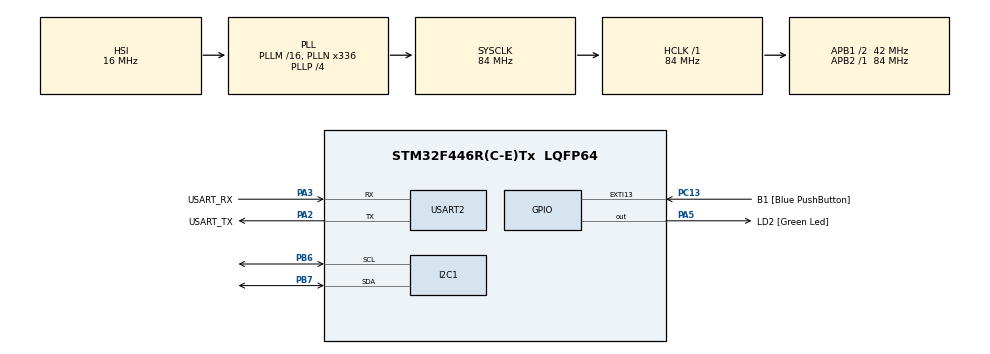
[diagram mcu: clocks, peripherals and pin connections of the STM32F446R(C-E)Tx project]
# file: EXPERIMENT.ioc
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Mcu.Family=STM32F4
Mcu.Name=STM32F446R(C-E)Tx
Mcu.Package=LQFP64
NVIC.PriorityGroup=NVIC_PRIORITYGROUP_0
PA13.GPIO_Label=TMS
PA13.Mode=Serial_Wire
PA13.Signal=SYS_JTMS-SWDIO
PA14.GPIO_Label=TCK
PA14.Mode=Serial_Wire
PA14.Signal=SYS_JTCK-SWCLK
PA2.GPIO_Label=USART_TX
PA2.Mode=Asynchronous
PA2.Signal=USART2_TX
PA3.GPIO_Label=USART_RX
PA3.Mode=Asynchronous
PA3.Signal=USART2_RX
PA5.GPIO_Label=LD2 [Green Led]
PA5.Signal=GPIO_Output
PB3.GPIO_Label=SWO
PB3.Signal=SYS_JTDO-SWO
PB6.Mode=I2C
PB6.Signal=I2C1_SCL
PB7.Mode=I2C
PB7.Signal=I2C1_SDA
PC13.GPIO_Label=B1 [Blue PushButton]
PC13.GPIO_ModeDefaultEXTI=GPIO_MODE_IT_FALLING
PC13.Signal=GPXTI13
PC14-OSC32_IN.Mode=LSE-External-Oscillator
PC14-OSC32_IN.Signal=RCC_OSC32_IN
PC15-OSC32_OUT.Mode=LSE-External-Oscillator
PC15-OSC32_OUT.Signal=RCC_OSC32_OUT
PH0-OSC_IN.Mode=HSE-External-Oscillator
PH0-OSC_IN.Signal=RCC_OSC_IN
PH1-OSC_OUT.Mode=HSE-External-Oscillator
PH1-OSC_OUT.Signal=RCC_OSC_OUT
ProjectManager.HeapSize=0x200
ProjectManager.StackSize=0x400
ProjectManager.TargetToolchain=CMake
RCC.48MHZClocksFreq_Value=84000000
RCC.AHBFreq_Value=84000000
RCC.APB1CLKDivider=RCC_HCLK_DIV2
RCC.APB1Freq_Value=42000000
RCC.APB1TimFreq_Value=84000000
RCC.APB2Freq_Value=84000000
RCC.APB2TimFreq_Value=84000000
RCC.CortexFreq_Value=84000000
RCC.FLatency-AdvancedSettings=FLASH_LATENCY_2
RCC.HCLKFreq_Value=84000000
RCC.HSE_VALUE=8000000
RCC.HSI_VALUE=16000000
RCC.PLLN=336
RCC.PLLP=RCC_PLLP_DIV4
RCC.SYSCLKFreq_VALUE=84000000
RCC.SYSCLKSource=RCC_SYSCLKSOURCE_PLLCLK
RCC.USBFreq_Value=168000000
RCC.VCOOutputFreq_Value=336000000
USART2.VirtualMode=VM_ASYNC
board=NUCLEO-F446RE

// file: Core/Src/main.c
/* USER CODE BEGIN Header */
/**
  ******************************************************************************
  * @file           : main.c
  * @brief          : Main program body
  ******************************************************************************
  * @attention
  *
  * Copyright (c) 2025 STMicroelectronics.
  * All rights reserved.
  *
  * This software is licensed under terms that can be found in the LICENSE file
  * in the root directory of this software component.
  * If no LICENSE file comes with this software, it is provided AS-IS.
  *
  ******************************************************************************
  */
/* USER CODE END Header */
#include "main.h"

/* USER CODE BEGIN Includes */
#include "lis2dw12_reg.h"
#include <string.h>
#include <stdio.h>
/* USER CODE END Includes */

I2C_HandleTypeDef hi2c1;

UART_HandleTypeDef huart2;

/* USER CODE BEGIN PV */
// I2C address for LIS2DW12 (DFRobot breakout board)
// 0x19 is the 7-bit address, 0x32 is left-shifted for STM32 HAL
#define LIS2DW12_I2C_ADDR_7BIT  0x19
#define LIS2DW12_I2C_ADDR_HAL   (LIS2DW12_I2C_ADDR_7BIT << 1)  // 0x32
/* USER CODE END PV */

void SystemClock_Config(void);
static void MX_GPIO_Init(void);
static void MX_USART2_UART_Init(void);
static void MX_I2C1_Init(void);
/* USER CODE BEGIN PFP */

#ifdef __GNUC__
#define PUTCHAR_PROTOTYPE int __io_putchar(int ch)
#else
#define PUTCHAR_PROTOTYPE int fputc(int ch, FILE *f)
#endif

PUTCHAR_PROTOTYPE{
  HAL_UART_Transmit(&huart2, (uint8_t*)&ch, 1, HAL_MAX_DELAY);
  return ch;
}

void i2c_scan(I2C_HandleTypeDef *hi2c);

/* USER CODE END PFP */

/* USER CODE BEGIN 0 */

// I2C bus scan function for debugging
void i2c_scan(I2C_HandleTypeDef *hi2c) {
    printf("\r\n--- I2C Bus Scan ---\r\n");
    printf("Scanning I2C bus...\r\n");

    uint8_t devices_found = 0;

    for (uint8_t i = 0; i < 128; i++) {
        HAL_StatusTypeDef result = HAL_I2C_IsDeviceReady(hi2c, (uint16_t)(i << 1), 1, 10);
        if (result == HAL_OK) {
            printf("Device found at 0x%02X (7-bit) / 0x%02X (8-bit HAL)\r\n", i, (i << 1));
            devices_found++;
        }
    }

    if (devices_found == 0) {
        printf("No I2C devices found! Check your connections.\r\n");
    } else {
        printf("Total devices found: %d\r\n", devices_found);
    }

    printf("Expected LIS2DW12 at 0x%02X (7-bit) / 0x%02X (8-bit HAL)\r\n",
           LIS2DW12_I2C_ADDR_7BIT, LIS2DW12_I2C_ADDR_HAL);
    printf("--- End of Scan ---\r\n\r\n");
}

static int32_t platform_write(void *handle, uint8_t reg, const uint8_t *bufp, uint16_t len) {
    HAL_StatusTypeDef status = HAL_I2C_Mem_Write(handle, LIS2DW12_I2C_ADDR_HAL, reg, I2C_MEMADD_SIZE_8BIT, (uint8_t*)bufp, len, 100);
    if (status != HAL_OK) {
        printf("I2C Write Error: %d\r\n", status);
        return -1;
    }
    return 0;
}

// Platform-specific I2C read function for the LIS2DW12 driver

static int32_t platform_read(void *handle, uint8_t reg, uint8_t *bufp, uint16_t len) {
    HAL_StatusTypeDef status = HAL_I2C_Mem_Read(handle, LIS2DW12_I2C_ADDR_HAL, reg, I2C_MEMADD_SIZE_8BIT, bufp, len, 100);
    if (status != HAL_OK) {
        printf("I2C Read Error: %d\r\n", status);
        return -1;
    }
    return 0;
}
/* USER CODE END 0 */

int main(void)
{

  /* MCU Configuration--------------------------------------------------------*/

  /* Reset of all peripherals, Initializes the Flash interface and the Systick. */
  HAL_Init();

  /* Configure the system clock */
  SystemClock_Config();

  /* Initialize all configured peripherals */
  MX_GPIO_Init();
  MX_USART2_UART_Init();
  MX_I2C1_Init();
  /* USER CODE BEGIN 2 */

  printf("\r\n=== LIS2DW12 Accelerometer Initialization ===\r\n");

  // Scan I2C bus to check device connectivity
  i2c_scan(&hi2c1);

  stmdev_ctx_t dev_ctx;
  dev_ctx.write_reg = platform_write;
  dev_ctx.read_reg = platform_read;
  dev_ctx.handle = &hi2c1;

  uint8_t devID;
  int32_t ret = lis2dw12_device_id_get(&dev_ctx, &devID);

  if (ret != 0) {
    printf("Failed to read Device ID!\r\n");
    Error_Handler();
  }

  printf("Device ID: 0x%02X (Expected: 0x44)\r\n", devID);
  if (devID != LIS2DW12_ID) {  // LIS2DW12_ID is 0x44
    printf("ERROR: Wrong device ID! Check I2C connections.\r\n");
    Error_Handler();
  }

  printf("LIS2DW12 initialized successfully!\r\n");

  lis2dw12_data_rate_set(&dev_ctx, LIS2DW12_XL_ODR_800Hz);

  lis2dw12_power_mode_set(&dev_ctx, LIS2DW12_HIGH_PERFORMANCE);

  printf("Configuration complete: ODR=800Hz, Mode=High Performance\r\n\r\n");

  /* USER CODE END 2 */

  /* Infinite loop */
  while (1)
  {

    /* USER CODE BEGIN 3 */

  // printf("hey there world\r\n");

  uint8_t data_ready_flag;

  // printf("hey there world\r\n");

  lis2dw12_flag_data_ready_get(&dev_ctx, &data_ready_flag);
  printf("Data Ready: %d\r\n", data_ready_flag);

  if (data_ready_flag) {
    int16_t raw_accel[3];
    float final_accel_mg[3];

    // holint our data

    lis2dw12_acceleration_raw_get(&dev_ctx, raw_accel);
    // reading data
    final_accel_mg[0] = lis2dw12_from_fs2_to_mg(raw_accel[0]); // X-axis
    final_accel_mg[1] = lis2dw12_from_fs2_to_mg(raw_accel[1]); // Y-axis
    final_accel_mg[2] = lis2dw12_from_fs2_to_mg(raw_accel[2]); // Z-axis
    // mg'ing everything we get for X,Y,Z

    printf("Accel [mg]: X=%.2f Y=%.2f Z=%.2f\r\n",
            final_accel_mg[0],
            final_accel_mg[1],
            final_accel_mg[2]);

  }
  HAL_Delay(100);
  }
  /* USER CODE END 3 */
}

void SystemClock_Config(void)
{
  RCC_OscInitTypeDef RCC_OscInitStruct = {0};
  RCC_ClkInitTypeDef RCC_ClkInitStruct = {0};

  /** Configure the main internal regulator output voltage
  */
  __HAL_RCC_PWR_CLK_ENABLE();
  __HAL_PWR_VOLTAGESCALING_CONFIG(PWR_REGULATOR_VOLTAGE_SCALE3);

  /** Initializes the RCC Oscillators according to the specified parameters
  * in the RCC_OscInitTypeDef structure.
  */
  RCC_OscInitStruct.OscillatorType = RCC_OSCILLATORTYPE_HSI;
  RCC_OscInitStruct.HSIState = RCC_HSI_ON;
  RCC_OscInitStruct.HSICalibrationValue = RCC_HSICALIBRATION_DEFAULT;
  RCC_OscInitStruct.PLL.PLLState = RCC_PLL_ON;
  RCC_OscInitStruct.PLL.PLLSource = RCC_PLLSOURCE_HSI;
  RCC_OscInitStruct.PLL.PLLM = 16;
  RCC_OscInitStruct.PLL.PLLN = 336;
  RCC_OscInitStruct.PLL.PLLP = RCC_PLLP_DIV4;
  RCC_OscInitStruct.PLL.PLLQ = 2;
  RCC_OscInitStruct.PLL.PLLR = 2;
  if (HAL_RCC_OscConfig(&RCC_OscInitStruct) != HAL_OK)
  {
    Error_Handler();
  }

  /** Initializes the CPU, AHB and APB buses clocks
  */
  RCC_ClkInitStruct.ClockType = RCC_CLOCKTYPE_HCLK|RCC_CLOCKTYPE_SYSCLK
                              |RCC_CLOCKTYPE_PCLK1|RCC_CLOCKTYPE_PCLK2;
  RCC_ClkInitStruct.SYSCLKSource = RCC_SYSCLKSOURCE_PLLCLK;
  RCC_ClkInitStruct.AHBCLKDivider = RCC_SYSCLK_DIV1;
  RCC_ClkInitStruct.APB1CLKDivider = RCC_HCLK_DIV2;
  RCC_ClkInitStruct.APB2CLKDivider = RCC_HCLK_DIV1;

  if (HAL_RCC_ClockConfig(&RCC_ClkInitStruct, FLASH_LATENCY_2) != HAL_OK)
  {
    Error_Handler();
  }
}

static void MX_I2C1_Init(void)
{

  hi2c1.Instance = I2C1;
  hi2c1.Init.ClockSpeed = 100000;
  hi2c1.Init.DutyCycle = I2C_DUTYCYCLE_2;
  hi2c1.Init.OwnAddress1 = 0;
  hi2c1.Init.AddressingMode = I2C_ADDRESSINGMODE_7BIT;
  hi2c1.Init.DualAddressMode = I2C_DUALADDRESS_DISABLE;
  hi2c1.Init.OwnAddress2 = 0;
  hi2c1.Init.GeneralCallMode = I2C_GENERALCALL_DISABLE;
  hi2c1.Init.NoStretchMode = I2C_NOSTRETCH_DISABLE;
  if (HAL_I2C_Init(&hi2c1) != HAL_OK)
  {
    Error_Handler();
  }

}

static void MX_USART2_UART_Init(void)
{

  huart2.Instance = USART2;
  huart2.Init.BaudRate = 115200;
  huart2.Init.WordLength = UART_WORDLENGTH_8B;
  huart2.Init.StopBits = UART_STOPBITS_1;
  huart2.Init.Parity = UART_PARITY_NONE;
  huart2.Init.Mode = UART_MODE_TX_RX;
  huart2.Init.HwFlowCtl = UART_HWCONTROL_NONE;
  huart2.Init.OverSampling = UART_OVERSAMPLING_16;
  if (HAL_UART_Init(&huart2) != HAL_OK)
  {
    Error_Handler();
  }

}

static void MX_GPIO_Init(void)
{
  GPIO_InitTypeDef GPIO_InitStruct = {0};

  /* GPIO Ports Clock Enable */
  __HAL_RCC_GPIOC_CLK_ENABLE();
  __HAL_RCC_GPIOH_CLK_ENABLE();
  __HAL_RCC_GPIOA_CLK_ENABLE();
  __HAL_RCC_GPIOB_CLK_ENABLE();

  /*Configure GPIO pin Output Level */
  HAL_GPIO_WritePin(LD2_GPIO_Port, LD2_Pin, GPIO_PIN_RESET);

  /*Configure GPIO pin : B1_Pin */
  GPIO_InitStruct.Pin = B1_Pin;
  GPIO_InitStruct.Mode = GPIO_MODE_IT_FALLING;
  GPIO_InitStruct.Pull = GPIO_NOPULL;
  HAL_GPIO_Init(B1_GPIO_Port, &GPIO_InitStruct);

  /*Configure GPIO pin : LD2_Pin */
  GPIO_InitStruct.Pin = LD2_Pin;
  GPIO_InitStruct.Mode = GPIO_MODE_OUTPUT_PP;
  GPIO_InitStruct.Pull = GPIO_NOPULL;
  GPIO_InitStruct.Speed = GPIO_SPEED_FREQ_LOW;
  HAL_GPIO_Init(LD2_GPIO_Port, &GPIO_InitStruct);

}

/* USER CODE BEGIN 4 */

char buff[128] = "";
/* USER CODE END 4 */

void Error_Handler(void)
{
  /* USER CODE BEGIN Error_Handler_Debug */
  /* User can add his own implementation to report the HAL error return state */
  __disable_irq();
  while (1)
  {
    HAL_GPIO_TogglePin(LD2_GPIO_Port, LD2_Pin);
    HAL_Delay(100);
  }
  /* USER CODE END Error_Handler_Debug */
}
